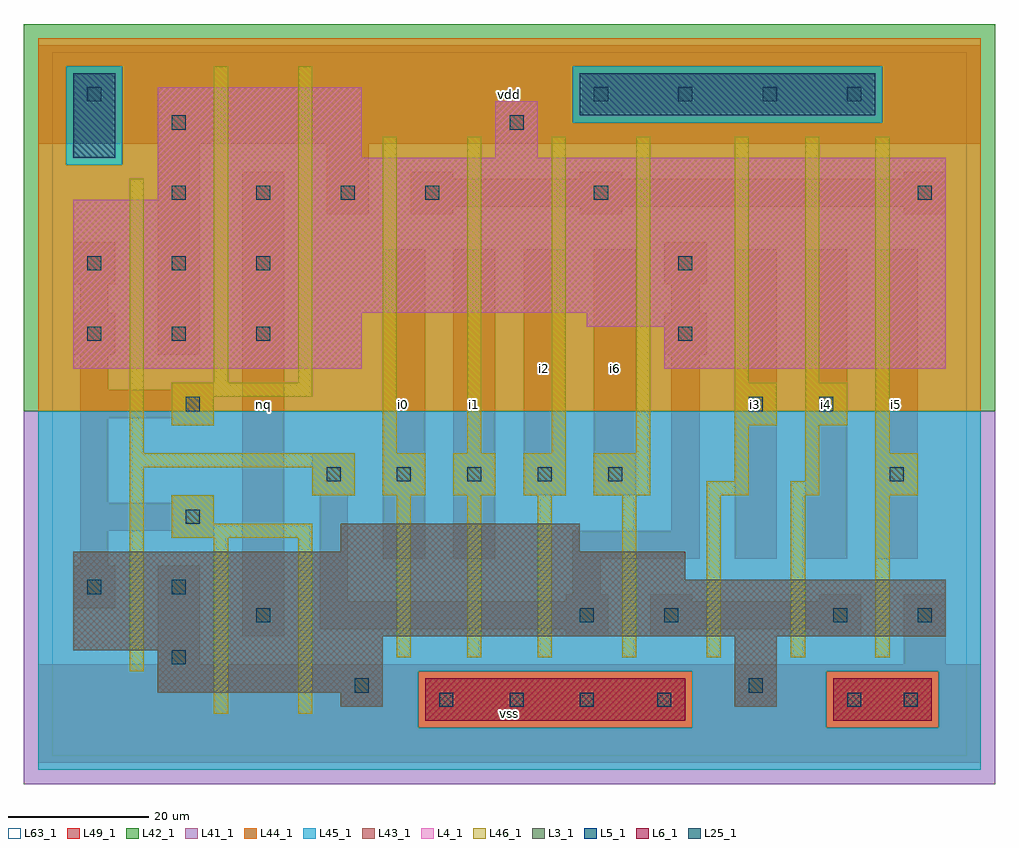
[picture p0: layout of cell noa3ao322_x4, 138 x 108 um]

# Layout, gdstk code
import gdstk
lib = gdstk.Library(unit=1e-6, precision=1e-09)
def R(c, l, rs):  # rectangles x0, y0, x1, y1
    for r in rs: c.add(gdstk.rectangle(r[:2], r[2:], *l))
def A(c, l, x, y, w, h, nx, ny, dx, dy):  # array of equal rectangles
    R(c, l, [(x+i*dx, y+j*dy, x+i*dx+w, y+j*dy+h) for i in range(nx) for j in range(ny)])
L3_1 = (3, 1)
L4_1 = (4, 1)
L5_1 = (5, 1)
L6_1 = (6, 1)
L25_1 = (25, 1)
L41_1 = (41, 1)
L42_1 = (42, 1)
L43_1 = (43, 1)
L44_1 = (44, 1)
L45_1 = (45, 1)
L46_1 = (46, 1)
L49_1 = (49, 1)
L63_1 = (63, 1)

noa3ao322_x4 = lib.new_cell('noa3ao322_x4')
R(noa3ao322_x4, L3_1, [(41,7,47,9), (97,7,103,17), (15,9,47,15), (3,15,47,17), (3,17,127,25), (3,25,90,29), (41,29,75,33)])
R(noa3ao322_x4, L4_1, [(3,55,44,63), (87,55,127,61), (76,61,127,63), (3,63,127,79), (15,79,127,85), (15,85,44,95), (63,85,69,93)])
R(noa3ao322_x4, L5_1, [(3,85,9,97), (75,91,117,97)])
R(noa3ao322_x4, L6_1, [(53,5,90,11), (111,5,125,11)])
A(noa3ao322_x4, L25_1, 55, 7, 2, 2, 3, 1, 10, 0)
A(noa3ao322_x4, L25_1, 39, 39, 2, 2, 5, 1, 10, 0)
A(noa3ao322_x4, L25_1, 5, 59, 2, 2, 3, 2, 12, 10)
A(noa3ao322_x4, L25_1, 17, 79, 2, 2, 4, 1, 12, 0)
A(noa3ao322_x4, L25_1, 77, 93, 2, 2, 4, 1, 12, 0)
R(noa3ao322_x4, L25_1, [(86,7,88,9), (113,7,115,9), (121,7,123,9), (43,9,45,11), (99,9,101,11), (17,13,19,15), (29,19,31,21), (75,19,77,21), (87,19,89,21), (111,19,113,21), (123,19,125,21), (5,23,7,25), (17,23,19,25), (19,33,21,35), (119,39,121,41), (19,49,21,51), (99,49,101,51), (109,49,111,51), (89,59,91,61), (89,69,91,71), (77,79,79,81), (123,79,125,81), (17,89,19,91), (65,89,67,91), (5,93,7,95)])
R(noa3ao322_x4, L41_1, [(-4,-4,134,49)])
R(noa3ao322_x4, L42_1, [(-4,49,134,104)])
R(noa3ao322_x4, L43_1, [(53,5,90,11), (111,5,125,11), (41,7,47,9), (97,7,103,17), (15,9,47,15), (3,15,47,17), (3,17,127,25), (3,25,90,29), (41,29,75,33), (3,55,44,63), (87,55,127,61), (76,61,127,63), (3,63,127,79), (15,79,127,85), (3,85,9,97), (15,85,44,95), (63,85,69,93), (75,91,117,97)])
R(noa3ao322_x4, L44_1, [(52,4,91,12), (110,4,126,12), (-2,49,132,84), (-2,84,2,98), (10,84,132,90), (10,90,74,98), (118,90,132,98), (-2,98,132,102)])
R(noa3ao322_x4, L45_1, [(-2,-2,132,4), (-2,4,52,12), (91,4,110,12), (126,4,132,12), (-2,12,132,49), (2,84,10,98), (74,90,118,98)])
A(noa3ao322_x4, L46_1, 49, 14, 2, 23, 3, 1, 10, 0)
A(noa3ao322_x4, L46_1, 81, 14, 2, 23, 4, 1, 12, 0)
A(noa3ao322_x4, L46_1, 47, 37, 6, 6, 3, 1, 10, 0)
A(noa3ao322_x4, L46_1, 47, 43, 2, 45, 4, 1, 12, 0)
R(noa3ao322_x4, L46_1, [(23,6,25,31), (35,6,37,31), (11,12,13,41), (17,31,37,33), (17,33,23,37), (37,37,43,41), (77,37,85,43), (93,37,99,39), (105,37,109,39), (117,37,123,43), (97,39,99,47), (107,39,109,47), (11,41,43,43), (11,43,13,82), (117,43,119,88), (17,47,23,51), (97,47,103,53), (107,47,113,53), (17,51,37,53), (23,53,25,98), (35,53,37,98), (97,53,99,88), (107,53,109,88)])
A(noa3ao322_x4, L49_1, 97, 28, 6, 44, 3, 1, 10, 0)
R(noa3ao322_x4, L49_1, [(-2,-1,132,13), (15,13,21,27), (121,13,127,23), (27,17,33,83), (73,17,79,18), (85,17,91,18), (109,17,115,18), (38,18,79,22), (85,18,115,22), (3,21,9,27), (38,22,42,37), (73,22,79,23), (85,22,91,23), (109,22,115,23), (74,23,78,28), (4,27,8,32), (47,28,53,72), (57,28,63,72), (74,28,92,32), (17,31,23,32), (4,32,23,36), (88,32,92,57), (4,36,8,48), (17,36,23,37), (37,37,43,43), (67,37,73,72), (77,37,83,72), (17,47,23,48), (4,48,23,52), (4,52,8,57), (17,52,23,53), (3,57,9,63), (15,57,21,87), (87,57,93,63), (4,63,8,67), (88,63,92,67), (3,67,9,73), (87,67,93,73), (39,77,45,87), (51,77,57,78), (75,77,81,78), (121,77,127,78), (51,78,127,82), (51,82,57,83), (75,82,81,83), (121,82,127,83), (-2,87,132,101)])
R(noa3ao322_x4, L63_1, [(0,0,130,100)])
noa3ao322_x4.add(gdstk.Label('nq', (30,50), layer=49, texttype=1))
noa3ao322_x4.add(gdstk.Label('nq', (30,50), layer=49, texttype=1))
noa3ao322_x4.add(gdstk.Label('vss', (65,6), layer=49, texttype=1))
noa3ao322_x4.add(gdstk.Label('vss', (65,6), layer=49, texttype=1))
noa3ao322_x4.add(gdstk.Label('i0', (50,50), layer=49, texttype=1))
noa3ao322_x4.add(gdstk.Label('i0', (50,50), layer=49, texttype=1))
noa3ao322_x4.add(gdstk.Label('i1', (60,50), layer=49, texttype=1))
noa3ao322_x4.add(gdstk.Label('i2', (70,55), layer=49, texttype=1))
noa3ao322_x4.add(gdstk.Label('i2', (70,55), layer=49, texttype=1))
noa3ao322_x4.add(gdstk.Label('i1', (60,50), layer=49, texttype=1))
noa3ao322_x4.add(gdstk.Label('vdd', (65,94), layer=49, texttype=1))
noa3ao322_x4.add(gdstk.Label('vdd', (65,94), layer=49, texttype=1))
noa3ao322_x4.add(gdstk.Label('i6', (80,55), layer=49, texttype=1))
noa3ao322_x4.add(gdstk.Label('i6', (80,55), layer=49, texttype=1))
noa3ao322_x4.add(gdstk.Label('i3', (100,50), layer=49, texttype=1))
noa3ao322_x4.add(gdstk.Label('i3', (100,50), layer=49, texttype=1))
noa3ao322_x4.add(gdstk.Label('i5', (120,50), layer=49, texttype=1))
noa3ao322_x4.add(gdstk.Label('i4', (110,50), layer=49, texttype=1))
noa3ao322_x4.add(gdstk.Label('i5', (120,50), layer=49, texttype=1))
noa3ao322_x4.add(gdstk.Label('i4', (110,50), layer=49, texttype=1))

lib.write_gds('noa3ao322_x4.gds')
